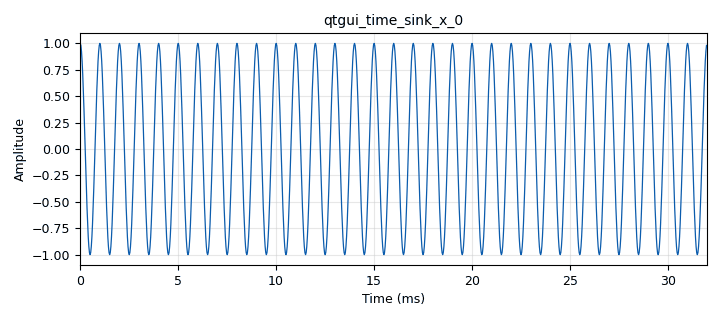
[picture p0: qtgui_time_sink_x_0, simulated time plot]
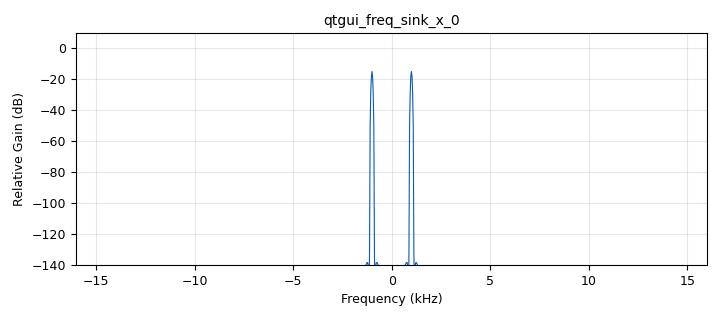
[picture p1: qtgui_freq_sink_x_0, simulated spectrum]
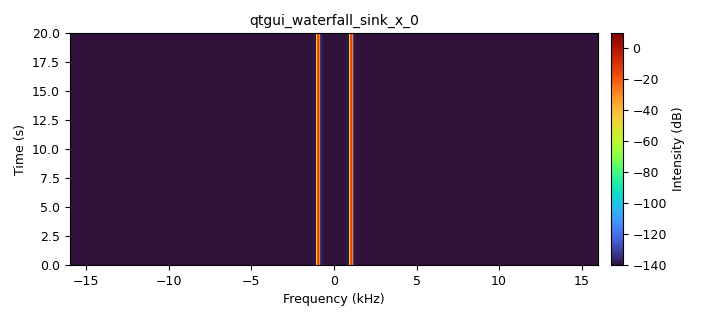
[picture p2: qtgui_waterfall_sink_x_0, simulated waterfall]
options:
  parameters:
    description: Exemplo 02 - Controle interativo com sliders
    generate_options: qt_gui
    id: exemplo_02_slider
    output_language: python
    title: Exemplo 02 - Controle Interativo com Sliders
  states: {}

blocks:
- name: samp_rate
  id: variable
  parameters:
    value: '32000'
  states: {}
- name: freq
  id: variable_qtgui_range
  parameters:
    label: Frequencia (Hz)
    start: '100'
    step: '100'
    stop: '5000'
    value: '1000'
  states: {}
- name: amp
  id: variable_qtgui_range
  parameters:
    label: Amplitude
    start: '0.1'
    step: '0.1'
    stop: '2.0'
    value: '1.0'
  states: {}
- name: analog_sig_source_x_0
  id: analog_sig_source_x
  parameters:
    amp: amp
    freq: freq
    offset: '0'
    phase: '0'
    samp_rate: samp_rate
    type: float
    waveform: analog.GR_COS_WAVE
  states: {}
- name: blocks_throttle_0
  id: blocks_throttle2
  parameters:
    samples_per_second: samp_rate
    type: float
  states: {}
- name: qtgui_time_sink_x_0
  id: qtgui_time_sink_x
  parameters:
    autoscale: 'True'
    size: '1024'
    srate: samp_rate
    type: float
    ymax: '2.5'
    ymin: '-2.5'
  states: {}
- name: qtgui_freq_sink_x_0
  id: qtgui_freq_sink_x
  parameters:
    bw: samp_rate
    fc: '0'
    fftsize: '1024'
    type: float
  states: {}
- name: qtgui_waterfall_sink_x_0
  id: qtgui_waterfall_sink_x
  parameters:
    bw: samp_rate
    fc: '0'
    fftsize: '1024'
    type: float
  states: {}

connections:
- [analog_sig_source_x_0, '0', blocks_throttle_0, '0']
- [blocks_throttle_0, '0', qtgui_time_sink_x_0, '0']
- [blocks_throttle_0, '0', qtgui_freq_sink_x_0, '0']
- [blocks_throttle_0, '0', qtgui_waterfall_sink_x_0, '0']

metadata:
  file_format: 1
  grc_version: 3.10.0.0
